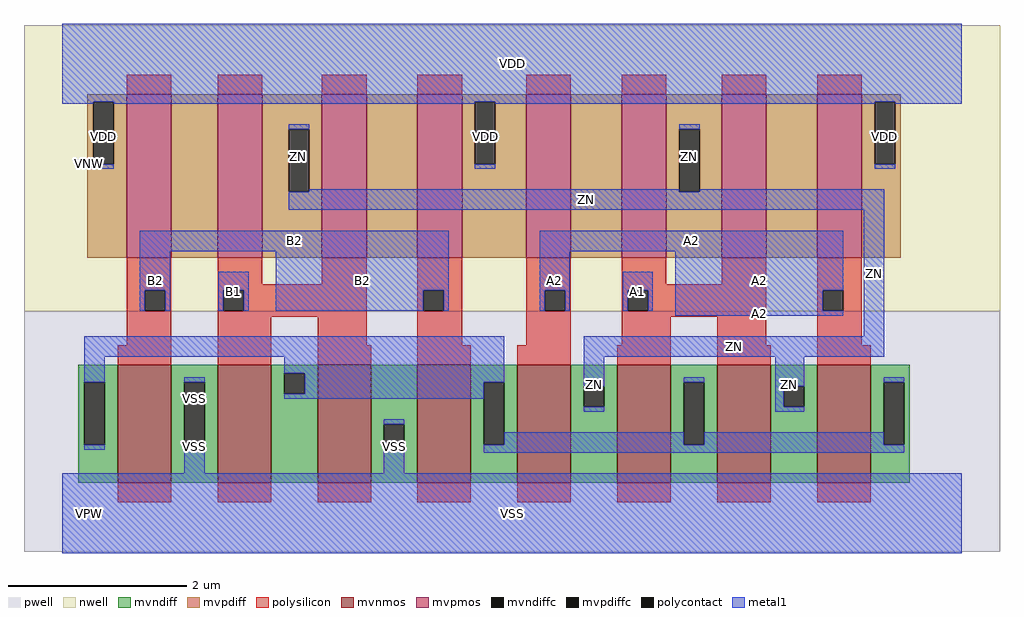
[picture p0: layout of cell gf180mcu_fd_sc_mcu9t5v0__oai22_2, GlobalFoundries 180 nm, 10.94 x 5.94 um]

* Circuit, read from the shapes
.subckt gf180mcu_fd_sc_mcu9t5v0__oai22_2 A1 A2 B1 B2 ZN VDD VNW VPW VSS
XM1 VSS B2 n1 VPW nfet_06v0 w=1.32u l=0.6u m=2
XM2 n1 B1 VSS VPW nfet_06v0 w=1.32u l=0.6u m=2
XM3 ZN A2 n1 VPW nfet_06v0 w=1.32u l=0.6u m=2
XM4 n1 A1 ZN VPW nfet_06v0 w=1.32u l=0.6u m=2
XM5 n2 B2 VDD VNW pfet_06v0 w=1.83u l=0.5u
XM6 ZN B1 n2 VNW pfet_06v0 w=1.83u l=0.5u
XM7 n3 B1 ZN VNW pfet_06v0 w=1.83u l=0.5u
XM8 VDD B2 n3 VNW pfet_06v0 w=1.83u l=0.5u
XM9 n4 A2 VDD VNW pfet_06v0 w=1.83u l=0.5u
XM10 ZN A1 n4 VNW pfet_06v0 w=1.83u l=0.5u
XM11 n5 A1 ZN VNW pfet_06v0 w=1.83u l=0.5u
XM12 VDD A2 n5 VNW pfet_06v0 w=1.83u l=0.5u
.ends

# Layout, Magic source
magic
tech gf180mcuD
magscale 1 10
<< nwell >>
rect -86 453 2102 1094
<< pwell >>
rect -86 -86 2102 453
<< mvnmos >>
rect 124 69 244 333
rect 348 69 468 333
rect 572 69 692 333
rect 796 69 916 333
rect 1020 69 1140 333
rect 1244 69 1364 333
rect 1468 69 1588 333
rect 1692 69 1812 333
<< mvpmos >>
rect 144 573 244 939
rect 348 573 448 939
rect 582 573 682 939
rect 796 573 896 939
rect 1040 573 1140 939
rect 1254 573 1354 939
rect 1478 573 1578 939
rect 1692 573 1792 939
<< mvndiff >>
rect 36 294 124 333
rect 36 154 49 294
rect 95 154 124 294
rect 36 69 124 154
rect 244 294 348 333
rect 244 154 273 294
rect 319 154 348 294
rect 244 69 348 154
rect 468 314 572 333
rect 468 268 497 314
rect 543 268 572 314
rect 468 69 572 268
rect 692 200 796 333
rect 692 154 721 200
rect 767 154 796 200
rect 692 69 796 154
rect 916 294 1020 333
rect 916 154 945 294
rect 991 154 1020 294
rect 916 69 1020 154
rect 1140 285 1244 333
rect 1140 239 1169 285
rect 1215 239 1244 285
rect 1140 69 1244 239
rect 1364 294 1468 333
rect 1364 154 1393 294
rect 1439 154 1468 294
rect 1364 69 1468 154
rect 1588 285 1692 333
rect 1588 239 1617 285
rect 1663 239 1692 285
rect 1588 69 1692 239
rect 1812 294 1900 333
rect 1812 154 1841 294
rect 1887 154 1900 294
rect 1812 69 1900 154
<< mvpdiff >>
rect 56 923 144 939
rect 56 783 69 923
rect 115 783 144 923
rect 56 573 144 783
rect 244 573 348 939
rect 448 861 582 939
rect 448 721 507 861
rect 553 721 582 861
rect 448 573 582 721
rect 682 573 796 939
rect 896 923 1040 939
rect 896 783 925 923
rect 971 783 1040 923
rect 896 573 1040 783
rect 1140 573 1254 939
rect 1354 861 1478 939
rect 1354 721 1383 861
rect 1429 721 1478 861
rect 1354 573 1478 721
rect 1578 573 1692 939
rect 1792 923 1880 939
rect 1792 783 1821 923
rect 1867 783 1880 923
rect 1792 573 1880 783
<< mvndiffc >>
rect 49 154 95 294
rect 273 154 319 294
rect 497 268 543 314
rect 721 154 767 200
rect 945 154 991 294
rect 1169 239 1215 285
rect 1393 154 1439 294
rect 1617 239 1663 285
rect 1841 154 1887 294
<< mvpdiffc >>
rect 69 783 115 923
rect 507 721 553 861
rect 925 783 971 923
rect 1383 721 1429 861
rect 1821 783 1867 923
<< polysilicon >>
rect 144 939 244 983
rect 348 939 448 983
rect 582 939 682 983
rect 796 939 896 983
rect 1040 939 1140 983
rect 1254 939 1354 983
rect 1478 939 1578 983
rect 1692 939 1792 983
rect 144 500 244 573
rect 144 454 185 500
rect 231 454 244 500
rect 144 377 244 454
rect 124 333 244 377
rect 348 513 448 573
rect 582 513 682 573
rect 348 500 682 513
rect 348 454 361 500
rect 407 454 682 500
rect 348 441 682 454
rect 348 333 468 441
rect 572 377 682 441
rect 796 500 896 573
rect 796 454 809 500
rect 855 454 896 500
rect 796 377 896 454
rect 1040 500 1140 573
rect 1040 454 1081 500
rect 1127 454 1140 500
rect 1040 377 1140 454
rect 1254 513 1354 573
rect 1478 513 1578 573
rect 1254 500 1578 513
rect 1254 454 1267 500
rect 1313 454 1578 500
rect 1254 441 1578 454
rect 1254 377 1364 441
rect 572 333 692 377
rect 796 333 916 377
rect 1020 333 1140 377
rect 1244 333 1364 377
rect 1468 377 1578 441
rect 1692 500 1792 573
rect 1692 454 1705 500
rect 1751 454 1792 500
rect 1692 377 1792 454
rect 1468 333 1588 377
rect 1692 333 1812 377
rect 124 25 244 69
rect 348 25 468 69
rect 572 25 692 69
rect 796 25 916 69
rect 1020 25 1140 69
rect 1244 25 1364 69
rect 1468 25 1588 69
rect 1692 25 1812 69
<< polycontact >>
rect 185 454 231 500
rect 361 454 407 500
rect 809 454 855 500
rect 1081 454 1127 500
rect 1267 454 1313 500
rect 1705 454 1751 500
<< metal1 >>
rect 0 923 2016 1098
rect 0 918 69 923
rect 115 918 925 923
rect 69 772 115 783
rect 507 861 553 872
rect 971 918 1821 923
rect 925 772 971 783
rect 1383 861 1429 872
rect 553 721 1383 726
rect 1867 918 2016 923
rect 1821 772 1867 783
rect 1429 721 1843 726
rect 507 680 1843 721
rect 174 588 866 634
rect 174 500 242 588
rect 174 454 185 500
rect 231 454 242 500
rect 350 500 418 542
rect 350 454 361 500
rect 407 454 418 500
rect 478 500 866 588
rect 478 454 809 500
rect 855 454 866 500
rect 1070 588 1751 634
rect 1070 500 1138 588
rect 1070 454 1081 500
rect 1127 454 1138 500
rect 1256 500 1324 542
rect 1256 454 1267 500
rect 1313 454 1324 500
rect 1374 500 1751 588
rect 1374 454 1705 500
rect 1374 443 1751 454
rect 1797 397 1843 680
rect 49 351 991 397
rect 49 294 95 351
rect 497 314 991 351
rect 49 143 95 154
rect 273 294 319 305
rect 543 294 991 314
rect 543 268 945 294
rect 497 257 945 268
rect 273 90 319 154
rect 721 200 767 211
rect 721 90 767 154
rect 1169 351 1843 397
rect 1169 285 1215 351
rect 1169 228 1215 239
rect 1393 294 1439 305
rect 991 154 1393 182
rect 1598 285 1663 351
rect 1598 239 1617 285
rect 1598 228 1663 239
rect 1841 294 1887 305
rect 1439 154 1841 182
rect 945 136 1887 154
rect 0 -90 2016 90
<< labels >>
flabel metal1 s 1256 454 1324 542 0 FreeSans 200 0 0 0 A1
port 1 nsew default input
flabel metal1 s 1070 588 1751 634 0 FreeSans 200 0 0 0 A2
port 2 nsew default input
flabel metal1 s 350 454 418 542 0 FreeSans 200 0 0 0 B1
port 3 nsew default input
flabel metal1 s 174 588 866 634 0 FreeSans 200 0 0 0 B2
port 4 nsew default input
flabel metal1 s 0 918 2016 1098 0 FreeSans 200 0 0 0 VDD
port 6 nsew power bidirectional abutment
flabel metal1 s 273 211 319 305 0 FreeSans 200 0 0 0 VSS
port 9 nsew ground bidirectional abutment
flabel metal1 s 1383 726 1429 872 0 FreeSans 200 0 0 0 ZN
port 5 nsew default output
flabel nwell s 10 734 110 834 0 FreeSans 400 0 0 0 VNW
port 7 nsew power bidirectional
flabel pwell s 10 -50 110 50 0 FreeSans 400 0 0 0 VPW
port 8 nsew ground bidirectional
rlabel metal1 s 1374 454 1751 588 1 A2
port 2 nsew default input
rlabel metal1 s 1070 454 1138 588 1 A2
port 2 nsew default input
rlabel metal1 s 1374 443 1751 454 1 A2
port 2 nsew default input
rlabel metal1 s 478 454 866 588 1 B2
port 4 nsew default input
rlabel metal1 s 174 454 242 588 1 B2
port 4 nsew default input
rlabel metal1 s 507 726 553 872 1 ZN
port 5 nsew default output
rlabel metal1 s 507 680 1843 726 1 ZN
port 5 nsew default output
rlabel metal1 s 1797 397 1843 680 1 ZN
port 5 nsew default output
rlabel metal1 s 1169 351 1843 397 1 ZN
port 5 nsew default output
rlabel metal1 s 1598 228 1663 351 1 ZN
port 5 nsew default output
rlabel metal1 s 1169 228 1215 351 1 ZN
port 5 nsew default output
rlabel metal1 s 1821 772 1867 918 1 VDD
port 6 nsew power bidirectional abutment
rlabel metal1 s 925 772 971 918 1 VDD
port 6 nsew power bidirectional abutment
rlabel metal1 s 69 772 115 918 1 VDD
port 6 nsew power bidirectional abutment
rlabel metal1 s 721 90 767 211 1 VSS
port 9 nsew ground bidirectional abutment
rlabel metal1 s 273 90 319 211 1 VSS
port 9 nsew ground bidirectional abutment
rlabel metal1 s 0 -90 2016 90 1 VSS
port 9 nsew ground bidirectional abutment
<< properties >>
string FIXED_BBOX 0 0 2016 1008
string GDS_END 137490
string GDS_FILE $PDKPATH/libs.ref/gf180mcu_fd_sc_mcu9t5v0/gds/gf180mcu_fd_sc_mcu9t5v0.gds
string GDS_START 132498
string LEFclass core
string LEFsite GF018hv5v_green_sc9
string LEFsymmetry X Y
<< end >>
